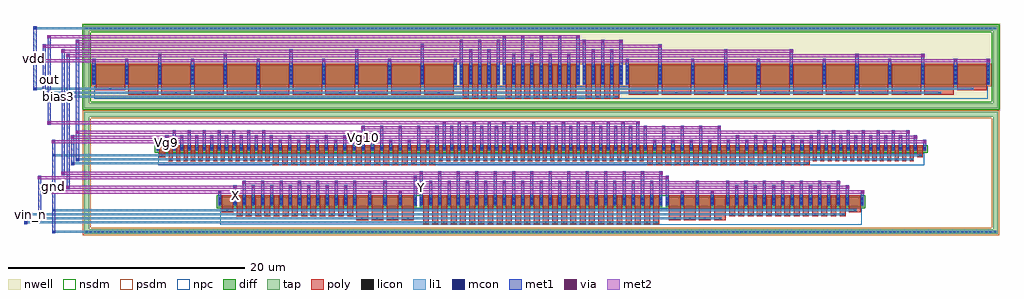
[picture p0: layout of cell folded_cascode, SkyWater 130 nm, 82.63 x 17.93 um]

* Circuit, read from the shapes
.subckt folded_cascode Vg10 Vg7 Vg9 X Y bias3 gnd out tail vb1 vb2 vdd vin_n vin_p
XM1 Vg9 gnd gnd gnd sky130_fd_pr__nfet_01v8 w=0.42 l=0.5 m=2
XM2 Vg7 Vg7 Vg9 gnd sky130_fd_pr__nfet_01v8 w=0.42 l=0.35 m=28
XM3 X gnd gnd gnd sky130_fd_pr__nfet_01v8 w=0.84 l=1 m=2
XM4 tail vin_n X gnd sky130_fd_pr__nfet_01v8 w=0.84 l=0.5 m=26
XM5 gnd Vg9 Vg9 gnd sky130_fd_pr__nfet_01v8 w=0.42 l=0.5 m=18
XM6 Vg10 Vg9 gnd gnd sky130_fd_pr__nfet_01v8 w=0.42 l=0.5 m=18
XM7 gnd vb2 tail gnd sky130_fd_pr__nfet_01v8 w=0.84 l=1 m=6
XM8 vb2 vb2 gnd gnd sky130_fd_pr__nfet_01v8 w=0.84 l=1 m=2
XM9 tail vin_p Y gnd sky130_fd_pr__nfet_01v8 w=0.84 l=0.5 m=26
XM10 out Vg7 Vg10 gnd sky130_fd_pr__nfet_01v8 w=0.42 l=0.35 m=28
XM11 vdd vdd vdd vdd sky130_fd_pr__pfet_01v8 w=1.65 l=2.5 m=2
XM12 X vb1 vdd vdd sky130_fd_pr__pfet_01v8 w=1.65 l=2.5 m=8
XM13 Y vb1 vdd vdd sky130_fd_pr__pfet_01v8 w=1.65 l=2.5 m=8
XM14 vb1 vb1 vdd vdd sky130_fd_pr__pfet_01v8 w=1.65 l=2.5 m=4
XM15 Y bias3 Vg7 vdd sky130_fd_pr__pfet_01v8 w=1.65 l=0.5 m=8
XM16 X bias3 out vdd sky130_fd_pr__pfet_01v8 w=1.65 l=0.5 m=8
.ends

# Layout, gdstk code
import gdstk
lib = gdstk.Library(unit=1e-6, precision=1e-09)
def R(c, l, rs):  # rectangles x0, y0, x1, y1
    for r in rs: c.add(gdstk.rectangle(r[:2], r[2:], *l))
def A(c, l, x, y, w, h, nx, ny, dx, dy):  # array of equal rectangles
    R(c, l, [(x+i*dx, y+j*dy, x+i*dx+w, y+j*dy+h) for i in range(nx) for j in range(ny)])
nwell = (64, 20)
diff = (65, 20)
tap = (65, 44)
poly = (66, 20)
licon = (66, 44)
li1 = (67, 20)
mcon = (67, 44)
met1 = (68, 20)
via = (68, 44)
met2 = (69, 20)
nsdm = (93, 44)
psdm = (94, 20)
npc = (95, 20)

folded_cascode = lib.new_cell('folded_cascode')
R(folded_cascode, nwell, [(-0.86,10.48,76.83,17.81)])
R(folded_cascode, diff, [(10.66,2.31,27.45,3.15), (27.72,2.31,48.25,3.15), (48.52,2.31,65.31,3.15), (5.4,6.98,70.57,7.4), (0,12.63,30.83,14.28), (31.1,12.63,34.47,14.28), (34.74,12.63,41.23,14.28), (41.5,12.63,44.87,14.28), (45.14,12.63,75.97,14.28)])
R(folded_cascode, tap, [(-0.68,0,76.65,0.41), (-0.68,0,-0.27,10.35), (76.24,0,76.65,10.35), (-0.68,9.94,76.65,10.35), (-0.68,10.66,76.65,11.07), (-0.68,10.66,-0.27,17.63), (76.24,10.66,76.65,17.63), (-0.68,17.22,76.65,17.63)])
A(folded_cascode, poly, 27.985, 0.805, 0.5, 2.475, 26, 1, 0.78, 0)
A(folded_cascode, poly, 22.345, 1.145, 1, 2.135, 4, 1, 1.28, 0)
A(folded_cascode, poly, 48.785, 1.145, 1, 2.135, 4, 1, 1.28, 0)
A(folded_cascode, poly, 12.205, 1.485, 0.5, 1.795, 13, 1, 0.78, 0)
A(folded_cascode, poly, 53.905, 1.485, 0.5, 1.795, 13, 1, 0.78, 0)
A(folded_cascode, poly, 15.265, 5.815, 0.5, 1.715, 18, 1, 0.78, 0)
A(folded_cascode, poly, 46.945, 5.815, 0.5, 1.715, 18, 1, 0.78, 0)
A(folded_cascode, poly, 6.445, 6.155, 0.35, 1.375, 14, 1, 0.63, 0)
A(folded_cascode, poly, 29.305, 6.155, 0.35, 1.375, 28, 1, 0.63, 0)
A(folded_cascode, poly, 60.985, 6.155, 0.35, 1.375, 14, 1, 0.63, 0)
A(folded_cascode, poly, 31.365, 11.465, 0.5, 2.945, 4, 1, 0.78, 0)
A(folded_cascode, poly, 35.005, 11.465, 0.5, 2.945, 8, 1, 0.78, 0)
A(folded_cascode, poly, 41.765, 11.465, 0.5, 2.945, 4, 1, 0.78, 0)
A(folded_cascode, poly, 3.045, 11.805, 2.5, 2.605, 10, 1, 2.78, 0)
A(folded_cascode, poly, 45.405, 11.805, 2.5, 2.605, 10, 1, 2.78, 0)
R(folded_cascode, poly, [(10.925,1.825,11.925,3.28), (64.045,1.825,65.045,3.28), (5.665,6.495,6.165,7.53), (69.805,6.495,70.305,7.53), (0.265,12.145,2.765,14.41), (73.205,12.145,75.705,14.41)])
A(folded_cascode, licon, -0.56, 0.12, 0.17, 0.17, 227, 2, 0.34, 17.22)
A(folded_cascode, licon, 28.15, 0.885, 0.17, 0.17, 26, 1, 0.78, 0)
A(folded_cascode, licon, 22.76, 1.225, 0.17, 0.17, 4, 1, 1.28, 0)
A(folded_cascode, licon, 49.2, 1.225, 0.17, 0.17, 4, 1, 1.28, 0)
A(folded_cascode, licon, 12.37, 1.565, 0.17, 0.17, 13, 1, 0.78, 0)
A(folded_cascode, licon, 54.07, 1.565, 0.17, 0.17, 13, 1, 0.78, 0)
A(folded_cascode, licon, 11.98, 2.475, 0.17, 0.17, 14, 2, 0.78, 0.34)
A(folded_cascode, licon, 23.4, 2.475, 0.17, 0.17, 4, 2, 1.28, 0.34)
A(folded_cascode, licon, 27.76, 2.475, 0.17, 0.17, 27, 2, 0.78, 0.34)
A(folded_cascode, licon, 48.56, 2.475, 0.17, 0.17, 5, 2, 1.28, 0.34)
A(folded_cascode, licon, 54.46, 2.475, 0.17, 0.17, 13, 2, 0.78, 0.34)
A(folded_cascode, licon, 15.43, 5.895, 0.17, 0.17, 18, 1, 0.78, 0)
A(folded_cascode, licon, 47.11, 5.895, 0.17, 0.17, 18, 1, 0.78, 0)
A(folded_cascode, licon, 6.535, 6.235, 0.17, 0.17, 14, 1, 0.63, 0)
A(folded_cascode, licon, 29.395, 6.235, 0.17, 0.17, 28, 1, 0.63, 0)
A(folded_cascode, licon, 61.075, 6.235, 0.17, 0.17, 14, 1, 0.63, 0)
A(folded_cascode, licon, 6.22, 7.105, 0.17, 0.17, 15, 1, 0.63, 0)
A(folded_cascode, licon, 15.82, 7.105, 0.17, 0.17, 18, 1, 0.78, 0)
A(folded_cascode, licon, 29.71, 7.105, 0.17, 0.17, 28, 1, 0.63, 0)
A(folded_cascode, licon, 47.5, 7.105, 0.17, 0.17, 18, 1, 0.78, 0)
A(folded_cascode, licon, 61.39, 7.105, 0.17, 0.17, 14, 1, 0.63, 0)
A(folded_cascode, licon, 31.53, 11.545, 0.17, 0.17, 4, 1, 0.78, 0)
A(folded_cascode, licon, 35.17, 11.545, 0.17, 0.17, 8, 1, 0.78, 0)
A(folded_cascode, licon, 41.93, 11.545, 0.17, 0.17, 4, 1, 0.78, 0)
A(folded_cascode, licon, 4.21, 11.885, 0.17, 0.17, 10, 1, 2.78, 0)
A(folded_cascode, licon, 46.57, 11.885, 0.17, 0.17, 10, 1, 2.78, 0)
A(folded_cascode, licon, 0.04, 12.69, 0.17, 0.17, 12, 5, 2.78, 0.34)
A(folded_cascode, licon, 31.14, 12.69, 0.17, 0.17, 5, 5, 0.78, 0.34)
A(folded_cascode, licon, 34.78, 12.69, 0.17, 0.17, 9, 5, 0.78, 0.34)
A(folded_cascode, licon, 41.54, 12.69, 0.17, 0.17, 5, 5, 0.78, 0.34)
A(folded_cascode, licon, 45.18, 12.69, 0.17, 0.17, 12, 5, 2.78, 0.34)
R(folded_cascode, licon, [(11.34,1.905,11.51,2.075), (64.46,1.905,64.63,2.075), (10.7,2.475,10.87,2.645), (65.1,2.475,65.27,2.645), (10.7,2.815,10.87,2.985), (65.1,2.815,65.27,2.985), (5.83,6.575,6,6.745), (69.97,6.575,70.14,6.745), (5.44,7.105,5.61,7.275), (70.36,7.105,70.53,7.275), (1.43,12.225,1.6,12.395), (74.37,12.225,74.54,12.395)])
A(folded_cascode, li1, 11.98, 2.395, 0.17, 0.67, 14, 1, 0.78, 0)
A(folded_cascode, li1, 23.4, 2.395, 0.17, 0.67, 4, 1, 1.28, 0)
A(folded_cascode, li1, 27.76, 2.395, 0.17, 0.67, 27, 1, 0.78, 0)
A(folded_cascode, li1, 48.56, 2.395, 0.17, 0.67, 5, 1, 1.28, 0)
A(folded_cascode, li1, 54.46, 2.395, 0.17, 0.67, 13, 1, 0.78, 0)
A(folded_cascode, li1, 6.22, 7.025, 0.17, 0.33, 15, 1, 0.63, 0)
A(folded_cascode, li1, 15.82, 7.025, 0.17, 0.33, 18, 1, 0.78, 0)
A(folded_cascode, li1, 29.71, 7.025, 0.17, 0.33, 28, 1, 0.63, 0)
A(folded_cascode, li1, 47.5, 7.025, 0.17, 0.33, 18, 1, 0.78, 0)
A(folded_cascode, li1, 61.39, 7.025, 0.17, 0.33, 14, 1, 0.63, 0)
A(folded_cascode, li1, 0.04, 12.61, 0.17, 1.69, 12, 1, 2.78, 0)
A(folded_cascode, li1, 31.14, 12.61, 0.17, 1.69, 5, 1, 0.78, 0)
A(folded_cascode, li1, 34.78, 12.61, 0.17, 1.69, 9, 1, 0.78, 0)
A(folded_cascode, li1, 41.54, 12.61, 0.17, 1.69, 5, 1, 0.78, 0)
A(folded_cascode, li1, 45.18, 12.61, 0.17, 1.69, 12, 1, 2.78, 0)
R(folded_cascode, li1, [(-3.4,0.12,76.53,0.29), (-5.8,0.885,47.9,1.055), (-4.6,1.225,53.29,1.395), (-5.4,1.565,63.68,1.735), (-3.4,1.905,64.71,2.075), (10.7,2.395,10.87,3.065), (65.1,2.395,65.27,3.065), (-1.8,5.895,60.62,6.065), (-1.4,6.235,69.515,6.405), (-3.4,6.575,70.22,6.745), (5.44,7.025,5.61,7.355), (70.36,7.025,70.53,7.355), (-3,11.545,44.52,11.715), (-4.2,11.885,71.84,12.055), (-5,12.225,74.62,12.395), (-5,17.34,76.53,17.51)])
A(folded_cascode, mcon, 11.98, 2.535, 0.17, 0.17, 14, 2, 0.78, 0.36)
A(folded_cascode, mcon, 23.4, 2.535, 0.17, 0.17, 4, 2, 1.28, 0.36)
A(folded_cascode, mcon, 27.76, 2.535, 0.17, 0.17, 27, 2, 0.78, 0.36)
A(folded_cascode, mcon, 48.56, 2.535, 0.17, 0.17, 5, 2, 1.28, 0.36)
A(folded_cascode, mcon, 54.46, 2.535, 0.17, 0.17, 13, 2, 0.78, 0.36)
A(folded_cascode, mcon, 6.22, 7.185, 0.17, 0.17, 15, 1, 0.63, 0)
A(folded_cascode, mcon, 15.82, 7.185, 0.17, 0.17, 18, 1, 0.78, 0)
A(folded_cascode, mcon, 29.71, 7.185, 0.17, 0.17, 28, 1, 0.63, 0)
A(folded_cascode, mcon, 47.5, 7.185, 0.17, 0.17, 18, 1, 0.78, 0)
A(folded_cascode, mcon, 61.39, 7.185, 0.17, 0.17, 14, 1, 0.63, 0)
A(folded_cascode, mcon, 0.04, 12.69, 0.17, 0.17, 12, 5, 2.78, 0.36)
A(folded_cascode, mcon, 31.14, 12.69, 0.17, 0.17, 5, 5, 0.78, 0.36)
A(folded_cascode, mcon, 34.78, 12.69, 0.17, 0.17, 9, 5, 0.78, 0.36)
A(folded_cascode, mcon, 41.54, 12.69, 0.17, 0.17, 5, 5, 0.78, 0.36)
A(folded_cascode, mcon, 45.18, 12.69, 0.17, 0.17, 12, 5, 2.78, 0.36)
R(folded_cascode, mcon, [(-3.355,0.12,-3.185,0.29), (-5.755,0.885,-5.585,1.055), (-4.555,1.225,-4.385,1.395), (-5.355,1.565,-5.185,1.735), (-3.355,1.905,-3.185,2.075), (10.7,2.535,10.87,2.705), (65.1,2.535,65.27,2.705), (10.7,2.895,10.87,3.065), (65.1,2.895,65.27,3.065), (-1.755,5.895,-1.585,6.065), (-1.355,6.235,-1.185,6.405), (-3.355,6.575,-3.185,6.745), (5.44,7.185,5.61,7.355), (70.36,7.185,70.53,7.355), (-2.955,11.545,-2.785,11.715), (-4.155,11.885,-3.985,12.055), (-4.955,12.225,-4.785,12.395), (-4.955,17.34,-4.785,17.51)])
A(folded_cascode, met1, 11.935, 2.475, 0.26, 1.635, 7, 1, 1.56, 0)
A(folded_cascode, met1, 12.715, 2.475, 0.26, 2.035, 7, 1, 1.56, 0)
A(folded_cascode, met1, 27.715, 2.475, 0.26, 2.835, 14, 1, 1.56, 0)
A(folded_cascode, met1, 28.495, 2.475, 0.26, 2.035, 13, 1, 1.56, 0)
A(folded_cascode, met1, 53.635, 2.475, 0.26, 2.035, 7, 1, 1.56, 0)
A(folded_cascode, met1, 54.415, 2.475, 0.26, 1.635, 7, 1, 1.56, 0)
A(folded_cascode, met1, 6.175, 7.125, 0.26, 1.235, 8, 1, 1.26, 0)
A(folded_cascode, met1, 6.805, 7.125, 0.26, 1.635, 7, 1, 1.26, 0)
A(folded_cascode, met1, 15.775, 7.125, 0.26, 0.835, 9, 1, 1.56, 0)
A(folded_cascode, met1, 16.555, 7.125, 0.26, 1.235, 4, 1, 1.56, 0)
A(folded_cascode, met1, 22.795, 7.125, 0.26, 2.035, 5, 1, 1.56, 0)
A(folded_cascode, met1, 29.665, 7.125, 0.26, 2.435, 14, 1, 1.26, 0)
A(folded_cascode, met1, 30.295, 7.125, 0.26, 2.035, 14, 1, 1.26, 0)
A(folded_cascode, met1, 47.455, 7.125, 0.26, 0.835, 9, 1, 1.56, 0)
A(folded_cascode, met1, 48.235, 7.125, 0.26, 2.035, 4, 1, 1.56, 0)
A(folded_cascode, met1, 54.475, 7.125, 0.26, 1.235, 5, 1, 1.56, 0)
A(folded_cascode, met1, 61.345, 7.125, 0.26, 1.635, 7, 1, 1.26, 0)
A(folded_cascode, met1, 61.975, 7.125, 0.26, 1.235, 7, 1, 1.26, 0)
A(folded_cascode, met1, 2.775, 12.63, 0.26, 2.21, 6, 1, 5.56, 0)
A(folded_cascode, met1, 31.095, 12.63, 0.26, 3.81, 3, 1, 1.56, 0)
A(folded_cascode, met1, 34.735, 12.63, 0.26, 4.21, 5, 1, 1.56, 0)
A(folded_cascode, met1, 35.515, 12.63, 0.26, 2.61, 4, 1, 1.56, 0)
A(folded_cascode, met1, 41.495, 12.63, 0.26, 3.81, 3, 1, 1.56, 0)
A(folded_cascode, met1, 45.135, 12.63, 0.26, 2.21, 6, 1, 5.56, 0)
R(folded_cascode, met1, [(-3.4,0.06,-3.14,7.96), (-5.8,0.825,-5.54,1.15), (-4.6,1.165,-4.34,4.91), (-5.4,1.505,-5.14,1.83), (10.655,2.475,10.915,3.71), (23.355,2.475,23.615,3.71), (24.635,2.475,24.895,4.51), (25.915,2.475,26.175,3.71), (27.195,2.475,27.455,4.91), (48.515,2.475,48.775,4.91), (49.795,2.475,50.055,3.71), (51.075,2.475,51.335,4.51), (52.355,2.475,52.615,3.71), (65.055,2.475,65.315,3.71), (-2.2,3.79,-1.94,15.24), (-2.6,4.99,-2.34,15.64), (-1.8,5.835,-1.54,8.36), (-1.4,6.175,-1.14,16.44), (5.395,7.125,5.655,7.96), (70.315,7.125,70.575,7.96), (-3.8,9.24,-3.54,16.84), (-3,11.485,-2.74,11.81), (-4.2,11.825,-3.94,16.04), (-5,12.165,-4.74,17.57), (-0.005,12.63,0.255,14.84), (5.555,12.63,5.815,15.24), (11.115,12.63,11.375,15.24), (16.675,12.63,16.935,15.64), (22.235,12.63,22.495,15.64), (27.795,12.63,28.055,16.04), (31.875,12.63,32.135,15.64), (33.435,12.63,33.695,15.64), (42.275,12.63,42.535,15.64), (43.835,12.63,44.095,15.64), (47.915,12.63,48.175,16.04), (53.475,12.63,53.735,15.64), (59.035,12.63,59.295,15.64), (64.595,12.63,64.855,15.24), (70.155,12.63,70.415,15.24), (75.715,12.63,75.975,14.84)])
A(folded_cascode, via, 11.99, 3.875, 0.15, 0.15, 7, 1, 1.56, 0)
A(folded_cascode, via, 54.47, 3.875, 0.15, 0.15, 7, 1, 1.56, 0)
A(folded_cascode, via, 12.77, 4.275, 0.15, 0.15, 7, 1, 1.56, 0)
A(folded_cascode, via, 28.55, 4.275, 0.15, 0.15, 13, 1, 1.56, 0)
A(folded_cascode, via, 53.69, 4.275, 0.15, 0.15, 7, 1, 1.56, 0)
A(folded_cascode, via, 27.77, 5.075, 0.15, 0.15, 14, 1, 1.56, 0)
A(folded_cascode, via, 15.83, 7.725, 0.15, 0.15, 9, 1, 1.56, 0)
A(folded_cascode, via, 47.51, 7.725, 0.15, 0.15, 9, 1, 1.56, 0)
A(folded_cascode, via, 6.23, 8.125, 0.15, 0.15, 8, 1, 1.26, 0)
A(folded_cascode, via, 16.61, 8.125, 0.15, 0.15, 4, 1, 1.56, 0)
A(folded_cascode, via, 54.53, 8.125, 0.15, 0.15, 5, 1, 1.56, 0)
A(folded_cascode, via, 62.03, 8.125, 0.15, 0.15, 7, 1, 1.26, 0)
A(folded_cascode, via, 6.86, 8.525, 0.15, 0.15, 7, 1, 1.26, 0)
A(folded_cascode, via, 61.4, 8.525, 0.15, 0.15, 7, 1, 1.26, 0)
A(folded_cascode, via, 22.85, 8.925, 0.15, 0.15, 5, 1, 1.56, 0)
A(folded_cascode, via, 30.35, 8.925, 0.15, 0.15, 14, 1, 1.26, 0)
A(folded_cascode, via, 48.29, 8.925, 0.15, 0.15, 4, 1, 1.56, 0)
A(folded_cascode, via, 29.72, 9.325, 0.15, 0.15, 14, 1, 1.26, 0)
A(folded_cascode, via, 2.83, 14.605, 0.15, 0.15, 6, 1, 5.56, 0)
A(folded_cascode, via, 45.19, 14.605, 0.15, 0.15, 6, 1, 5.56, 0)
A(folded_cascode, via, 35.57, 15.005, 0.15, 0.15, 4, 1, 1.56, 0)
A(folded_cascode, via, 31.15, 16.205, 0.15, 0.15, 3, 1, 1.56, 0)
A(folded_cascode, via, 41.55, 16.205, 0.15, 0.15, 3, 1, 1.56, 0)
A(folded_cascode, via, 34.79, 16.605, 0.15, 0.15, 5, 1, 1.56, 0)
R(folded_cascode, via, [(-3.345,3.475,-3.195,3.625), (10.71,3.475,10.86,3.625), (23.41,3.475,23.56,3.625), (25.97,3.475,26.12,3.625), (49.85,3.475,50,3.625), (52.41,3.475,52.56,3.625), (65.11,3.475,65.26,3.625), (-2.145,3.875,-1.995,4.025), (24.69,4.275,24.84,4.425), (51.13,4.275,51.28,4.425), (-4.545,4.675,-4.395,4.825), (27.25,4.675,27.4,4.825), (48.57,4.675,48.72,4.825), (-2.545,5.075,-2.395,5.225), (-3.345,7.725,-3.195,7.875), (5.45,7.725,5.6,7.875), (70.37,7.725,70.52,7.875), (-1.745,8.125,-1.595,8.275), (-1.345,8.525,-1.195,8.675), (-3.745,9.325,-3.595,9.475), (-4.945,14.605,-4.795,14.755), (0.05,14.605,0.2,14.755), (75.77,14.605,75.92,14.755), (-2.145,15.005,-1.995,15.155), (5.61,15.005,5.76,15.155), (11.17,15.005,11.32,15.155), (64.65,15.005,64.8,15.155), (70.21,15.005,70.36,15.155), (-2.545,15.405,-2.395,15.555), (16.73,15.405,16.88,15.555), (22.29,15.405,22.44,15.555), (31.93,15.405,32.08,15.555), (33.49,15.405,33.64,15.555), (42.33,15.405,42.48,15.555), (43.89,15.405,44.04,15.555), (53.53,15.405,53.68,15.555), (59.09,15.405,59.24,15.555), (-4.145,15.805,-3.995,15.955), (27.85,15.805,28,15.955), (47.97,15.805,48.12,15.955), (-1.345,16.205,-1.195,16.355), (-3.745,16.605,-3.595,16.755)])
R(folded_cascode, met2, [(-3.43,3.42,65.345,3.68), (-2.23,3.82,64.065,4.08), (12.685,4.22,63.285,4.48), (-4.63,4.62,48.805,4.88), (-2.63,5.02,48.285,5.28), (-3.43,7.67,70.605,7.93), (-1.83,8.07,69.825,8.33), (-1.43,8.47,69.195,8.73), (22.765,8.87,53.205,9.13), (-3.83,9.27,46.335,9.53), (-5.03,14.55,76.005,14.81), (-2.23,14.95,70.445,15.21), (-2.63,15.35,59.325,15.61), (-4.23,15.75,48.205,16.01), (-1.43,16.15,44.905,16.41), (-3.83,16.55,41.265,16.81)])
R(folded_cascode, nsdm, [(10.535,2.185,65.435,3.275), (5.275,6.855,70.695,7.525), (-0.805,10.535,76.775,11.195), (-0.805,10.535,-0.145,17.755), (76.115,10.535,76.775,17.755), (-0.805,17.095,76.775,17.755)])
R(folded_cascode, psdm, [(-0.805,-0.125,76.775,0.535), (-0.805,-0.125,-0.145,10.475), (76.115,-0.125,76.775,10.475), (-0.805,9.815,76.775,10.475), (-0.125,12.505,76.095,14.405)])
R(folded_cascode, npc, [(10.825,0.785,65.145,2.175), (5.565,5.795,70.405,6.845), (0.165,11.445,75.805,12.495)])
folded_cascode.add(gdstk.Label('X', (12.065,3.295), layer=68, texttype=5))
folded_cascode.add(gdstk.Label('tail', (12.845,3.495), layer=68, texttype=5))
folded_cascode.add(gdstk.Label('Y', (27.845,3.89), layer=68, texttype=5))
folded_cascode.add(gdstk.Label('Vg9', (6.305,7.74), layer=68, texttype=5))
folded_cascode.add(gdstk.Label('Vg7', (6.935,7.945), layer=68, texttype=5))
folded_cascode.add(gdstk.Label('Vg10', (22.925,8.145), layer=68, texttype=5))
folded_cascode.add(gdstk.Label('bias3', (-2.87,11.645), layer=68, texttype=5))
folded_cascode.add(gdstk.Label('gnd', (-3.27,4.01), layer=68, texttype=5))
folded_cascode.add(gdstk.Label('out', (-3.67,13.04), layer=68, texttype=5))
folded_cascode.add(gdstk.Label('vb1', (-4.07,13.93), layer=68, texttype=5))
folded_cascode.add(gdstk.Label('vb2', (-4.47,3.04), layer=68, texttype=5))
folded_cascode.add(gdstk.Label('vdd', (-4.87,14.87), layer=68, texttype=5))
folded_cascode.add(gdstk.Label('vin_n', (-5.27,1.665), layer=68, texttype=5))
folded_cascode.add(gdstk.Label('vin_p', (-5.67,0.985), layer=68, texttype=5))

lib.write_gds('folded_cascode.gds')
